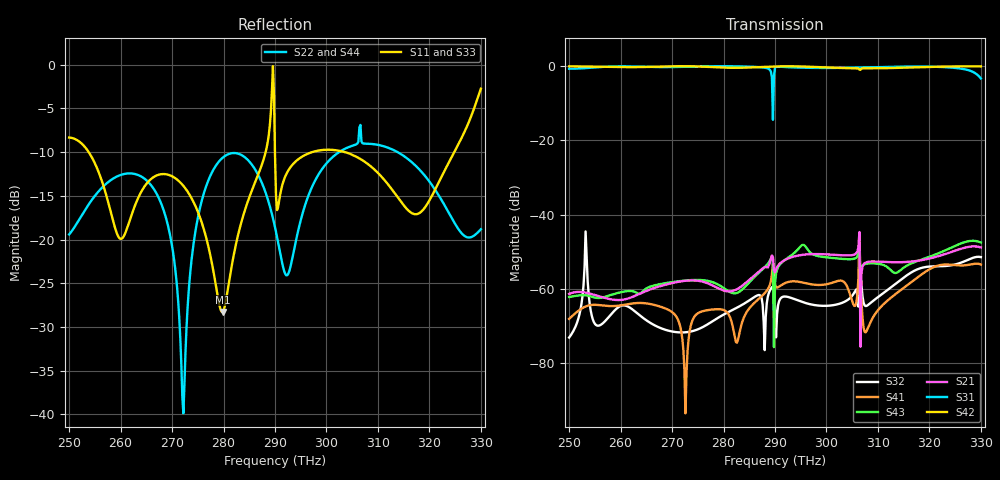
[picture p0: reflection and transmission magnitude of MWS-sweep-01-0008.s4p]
! TOUCHSTONE file generated by CST MICROWAVE STUDIO
! Date and time: Sun Sep 21 00:14:52 2025
! Project name: biblioteca3.cst
! Parameters = {t_sub=1500; t_air=1200; k=0; n=0; wavelength_nm=0; H=600; Lx=200; Ly=260; P=520}
! Header version: 2018
! Port assignment regex: !\s*Touchstone port\s*([0-9]+)\s*=\s*(CST MWS port|CST DS port)\s*([0-9]+|Zmin|Zmax)\s*\(\"(.*)\"\)(\s*mode\s*([0-9]+))?.*
! Touchstone port assignment:
! Touchstone port 1 = CST MWS port Zmin ("") mode 1
! Touchstone port 2 = CST MWS port Zmin ("") mode 2
! Touchstone port 3 = CST MWS port Zmax ("") mode 1
! Touchstone port 4 = CST MWS port Zmax ("") mode 2
! S-Parameters are not renormalized. Unphysical impedance of 50 will be written to the file.
# GHz S RI R 50
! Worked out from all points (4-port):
!   401 points, 250 THz to 330 THz, reference per port
!   strongest paths, dB at 250 THz, 270 THz, 290 THz, 310 THz, 330 THz:
!     S42: 0.0, 0.0, -0.1, -0.6, -0.1
!     S31: -0.7, -0.2, -0.4, -0.3, -3.3
!     S21: -61.4, -58.5, -55.6, -52.7, -48.9
!     S43: -62.3, -58.2, -58.5, -53.3, -47.5
!     S41: -68.1, -66.3, -58.9, -65.8, -53.5
!     S32: -73.2, -71.5, -65.1, -62.3, -51.5
!   lowest |S11| = -28.3 dB at 279.8 THz (marker M1), VSWR 1.08
!   |S11| at or under -10 dB: 253.8 THz to 288.2 THz (34.36 THz wide, 12.7 % of centre); 290 THz to 297.2 THz (7.177 THz wide, 2.44 % of centre); 303.6 THz to 324.8 THz (21.19 THz wide, 6.74 % of centre)
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250000  -0.3489 -0.1593  1.33e-05 0.000795  -0.8984 -0.2142  -4.38e-05 -0.000395
        3.73e-05 0.00085  -0.0954 -0.0485  0.000181 -2.31e-05  0.2464 -0.9632
        -0.8987 -0.2143  0.000194 -0.000103  0.3833 0.0152  -0.000705 -0.000341
        -5.61e-05 -0.000388  0.2469 -0.9635  -0.000702 -0.00032  -0.107 -0.0033
266800  -0.1564 0.1704  0.000392 0.000949  0.5719 -0.7871  0.000503 -7.13e-05
        0.000581 0.000857  -0.0207 0.1863  -0.000332 -4.56e-05  0.00198 0.9824
        0.572 -0.7875  -0.000304 -8.64e-05  0.1135 -0.2016  -0.000768 0.000552
        0.000562 -0.000204  0.00142 0.9822  -0.000857 0.000719  -0.0217 -0.186
279800  0.00228 0.0384  -0.000935 0.000334  -0.8361 0.5476  -0.000418 -4.59e-05
        -0.000881 0.000378  -0.0863 0.2805  0.000522 -4.11e-05  -0.2243 -0.9293
        -0.8359 0.5476  0.000436 -4.89e-05  0.0343 0.0175  0.000492 0.000915
        -0.000487 -0.000189  -0.2231 -0.9301  0.000522 0.000908  -0.2048 -0.2103
290800  -0.058 0.1564  9.4e-05 -0.00213  0.783 0.5991  -0.00103 0.000366
        5.81e-05 -0.00213  0.0899 0.00619  -0.000441 0.000521  -0.104 0.9906
        0.7833 0.5994  -0.000463 0.000498  -0.1358 0.0968  0.00175 0.00138
        -0.00103 0.000297  -0.104 0.9904  0.00161 0.00127  0.0892 0.0126
305600  0.2064 -0.2173  0.00133 0.00279  -0.4232 -0.8551  0.000377 -0.000677
        0.00131 0.00263  0.3072 -0.1653  0.000685 2.41e-05  0.1045 -0.9314
        -0.4233 -0.855  0.000831 -0.000436  0.2979 -0.0326  0.000168 -0.00269
        0.000211 -0.000549  0.1046 -0.9313  0.000229 -0.00256  0.2629 0.2292
320000  -0.0118 -0.1671  -0.00267 -0.000544  -0.1085 0.9815  -0.00143 -0.000449
        -0.00251 -0.000448  -0.1542 -0.1495  -0.00155 -0.00103  -0.6471 0.7316
        -0.1088 0.9803  -0.00174 -0.00096  -0.0475 0.1608  -0.00206 -0.00198
        -0.00148 -0.00107  -0.6473 0.7317  -0.00204 -0.00176  -0.1671 -0.1347
330000  -0.4015 0.6097  0.00343 0.000719  0.4941 -0.4721  0.00208 0.000172
        0.0035 0.000824  -0.1001 -0.0557  0.00107 0.00233  0.8775 0.4653
        0.494 -0.4722  0.00111 0.00242  0.6273 -0.3733  -0.00273 0.0031
        0.00211 0.000102  0.8775 0.4654  -0.0027 0.00322  0.1022 0.0516
